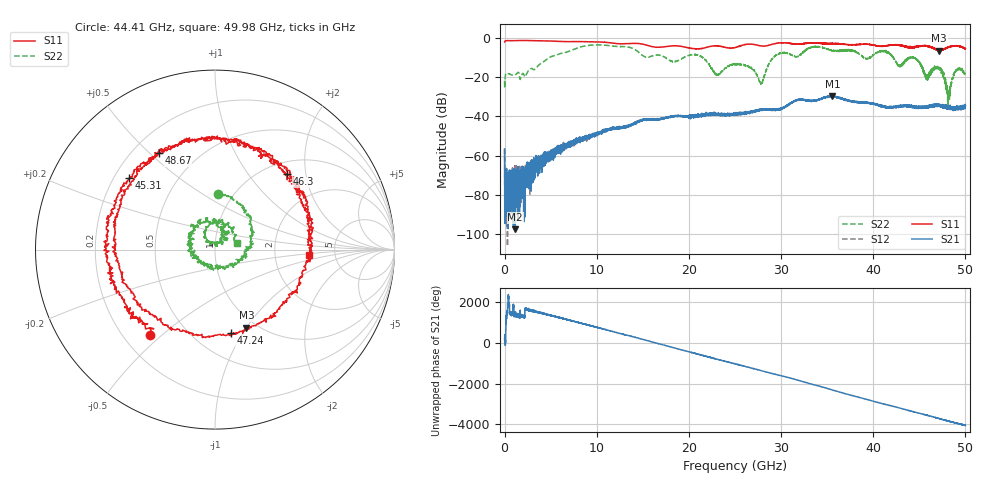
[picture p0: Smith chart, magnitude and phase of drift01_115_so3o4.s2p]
!Created with skrf (http://scikit-rf.org).
# Hz S RI R 50.0
!freq ReS11 ImS11 ReS21 ImS21 ReS12 ImS12 ReS22 ImS22
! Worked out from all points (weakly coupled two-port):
!   10001 points, 300 kHz to 50 GHz, reference 50 ohm
!   highest |S21| = -29.58 dB at 35.57 GHz (marker M1); lowest = -97.4 dB at 1.14 GHz (marker M2)
!   lowest |S11| = -6.6 dB at 47.15 GHz (marker M3), VSWR 2.76, Z = 44.9 - j50 ohm
!   |S11| at or under -10 dB: nowhere
!   |S22| runs from -34.0 to -3.6 dB; largest |S21 - S12| = 0.0038
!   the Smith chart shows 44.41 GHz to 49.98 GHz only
!   S11 on the Smith chart (normalised r, x): 44.41 GHz: 0.31, -0.46; 45.31 GHz: 0.26, +0.34; 46.3 GHz: 1.24, +1.57; 47.24 GHz: 0.74, -0.89; 48.67 GHz: 0.30, +0.53; 49.98 GHz: 3.19, -0.26
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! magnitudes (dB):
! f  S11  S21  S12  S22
! 300 kHz  -2.1  -56.8  -56.2  -21.9
! 270.3 MHz  -1.4  -73.5  -74.3  -18.0
! 1.14 GHz  -1.5  -97.4  -69.7  -18.8
! 8.335 GHz  -1.9  -51.2  -51.2  -4.6
! 16.67 GHz  -4.8  -41.4  -41.4  -8.7
! 20.97 GHz  -5.6  -38.8  -39.9  -8.8
! 23.08 GHz  -4.1  -38.5  -38.9  -18.8
! 25 GHz  -5.0  -39.0  -38.9  -13.6
! 27.84 GHz  -4.1  -36.6  -36.7  -23.2
! 29.47 GHz  -2.9  -36.8  -36.6  -8.8
! 33.34 GHz  -2.6  -32.1  -32.1  -4.8
! 35.57 GHz  -2.8  -29.6  -30.0  -6.4
! 41.67 GHz  -3.9  -35.1  -35.7  -7.7
! 44.41 GHz  -4.5  -35.4  -35.2  -10.1
! 45.31 GHz  -4.1  -35.1  -35.5  -15.7
! 46.3 GHz  -4.7  -34.5  -34.9  -17.3
! 47.15 GHz  -6.6  -34.6  -34.1  -15.2
! 47.24 GHz  -6.5  -34.7  -34.7  -16.8
! 48.13 GHz  -4.8  -35.1  -35.4  -29.4
! 48.67 GHz  -4.1  -37.1  -36.0  -19.4
! 49.98 GHz  -5.6  -33.9  -35.3  -17.9
! 50 GHz  -5.5  -34.5  -34.8  -18.3
